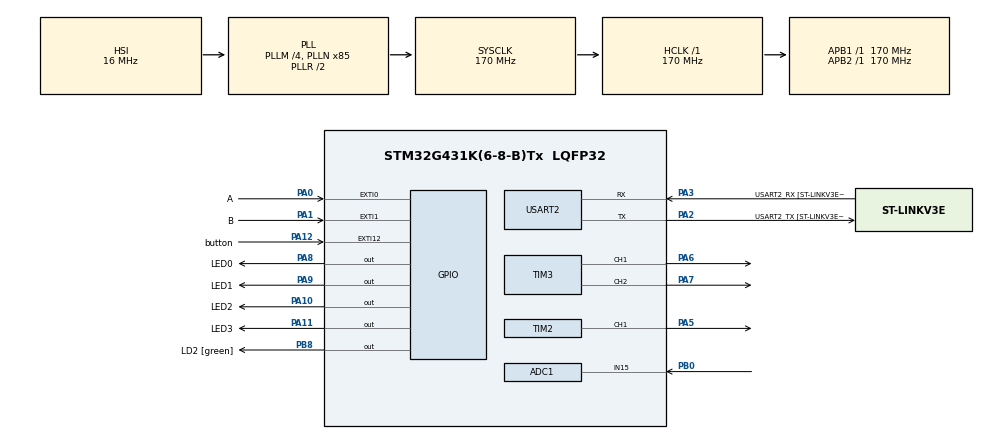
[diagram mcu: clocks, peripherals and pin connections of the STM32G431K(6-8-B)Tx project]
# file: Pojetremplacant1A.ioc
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ADC1.Channel-0\#ChannelRegularConversion=ADC_CHANNEL_15
ADC1.NbrOfConversionFlag=1
ADC1.OffsetNumber-0\#ChannelRegularConversion=ADC_OFFSET_NONE
ADC1.Rank-0\#ChannelRegularConversion=1
ADC1.SamplingTime-0\#ChannelRegularConversion=ADC_SAMPLETIME_2CYCLES_5
ADC1.master=1
Mcu.Family=STM32G4
Mcu.Name=STM32G431K(6-8-B)Tx
Mcu.Package=LQFP32
NVIC.EXTI0_IRQn=true\:0\:0\:false\:false\:true\:true\:true\:true
NVIC.EXTI15_10_IRQn=true\:0\:0\:false\:false\:true\:true\:true\:true
NVIC.EXTI1_IRQn=true\:0\:0\:false\:false\:true\:true\:true\:true
NVIC.PriorityGroup=NVIC_PRIORITYGROUP_4
NVIC.TIM2_IRQn=true\:0\:0\:false\:false\:true\:true\:true\:true
NVIC.TIM3_IRQn=true\:0\:0\:false\:false\:true\:true\:true\:true
NVIC.USART2_IRQn=true\:0\:0\:false\:false\:true\:true\:true\:true
PA0.GPIO_Label=A
PA0.GPIO_PuPd=GPIO_PULLUP
PA0.Signal=GPXTI0
PA1.GPIO_Label=B
PA1.GPIO_PuPd=GPIO_PULLUP
PA1.Signal=GPXTI1
PA10.GPIO_Label=LED2
PA10.Signal=GPIO_Output
PA11.GPIO_Label=LED3
PA11.Signal=GPIO_Output
PA12.GPIO_Label=button
PA12.GPIO_PuPd=GPIO_PULLDOWN
PA12.Signal=GPXTI12
PA13.GPIO_Label=T_SWDIO
PA13.Mode=Serial_Wire
PA13.Signal=SYS_JTMS-SWDIO
PA14.GPIO_Label=T_SWCLK
PA14.Mode=Serial_Wire
PA14.Signal=SYS_JTCK-SWCLK
PA2.GPIO_Label=USART2_TX [ST-LINKV3E_VCP_RX]
PA2.Mode=Asynchronous
PA2.Signal=USART2_TX
PA3.GPIO_Label=USART2_RX [ST-LINKV3E_VCP_TX]
PA3.Mode=Asynchronous
PA3.Signal=USART2_RX
PA5.GPIO_Speed=GPIO_SPEED_FREQ_MEDIUM
PA5.Signal=S_TIM2_CH1
PA6.GPIO_Speed=GPIO_SPEED_FREQ_MEDIUM
PA6.Signal=S_TIM3_CH1
PA7.GPIO_Speed=GPIO_SPEED_FREQ_MEDIUM
PA7.Signal=S_TIM3_CH2
PA8.GPIO_Label=LED0
PA8.Signal=GPIO_Output
PA9.GPIO_Label=LED1
PA9.Signal=GPIO_Output
PB0.Mode=IN15-Single-Ended
PB0.Signal=ADC1_IN15
PB3.GPIO_Label=T_SWO
PB3.Signal=SYS_JTDO-SWO
PB8-BOOT0.GPIO_Label=LD2 [green]
PB8-BOOT0.Signal=GPIO_Output
PF0-OSC_IN.Mode=HSE-External-Oscillator
PF0-OSC_IN.Signal=RCC_OSC_IN
PF1-OSC_OUT.Mode=HSE-External-Oscillator
PF1-OSC_OUT.Signal=RCC_OSC_OUT
ProjectManager.HeapSize=0x200
ProjectManager.StackSize=0x400
ProjectManager.TargetToolchain=STM32CubeIDE
RCC.ADC12Freq_Value=170000000
RCC.AHBFreq_Value=170000000
RCC.APB1Freq_Value=170000000
RCC.APB1TimFreq_Value=170000000
RCC.APB2Freq_Value=170000000
RCC.APB2TimFreq_Value=170000000
RCC.CortexFreq_Value=170000000
RCC.EXTERNAL_CLOCK_VALUE=12288000
RCC.HCLKFreq_Value=170000000
RCC.HSE_VALUE=8000000
RCC.HSI48_VALUE=48000000
RCC.HSI_VALUE=16000000
RCC.LSE_VALUE=32768
RCC.PLLM=RCC_PLLM_DIV4
RCC.PLLN=85
RCC.SYSCLKFreq_VALUE=170000000
RCC.SYSCLKSource=RCC_SYSCLKSOURCE_PLLCLK
RCC.USBFreq_Value=170000000
RCC.VCOOutputFreq_Value=340000000
SH.S_TIM2_CH1.0=TIM2_CH1,PWM Generation1 CH1
SH.S_TIM3_CH1.0=TIM3_CH1,PWM Generation1 CH1
SH.S_TIM3_CH2.0=TIM3_CH2,PWM Generation2 CH2
TIM2.Channel-PWM\ Generation1\ CH1=TIM_CHANNEL_1
TIM2.PeriodNoDither=65535
TIM3.Channel-PWM\ Generation1\ CH1=TIM_CHANNEL_1
TIM3.Channel-PWM\ Generation2\ CH2=TIM_CHANNEL_2
USART2.VirtualMode-Asynchronous=VM_ASYNC
USART2.WordLength=WORDLENGTH_8B
VP_SYS_VS_DBSignals.Mode=DisableDeadBatterySignals
VP_TIM2_VS_ClockSourceINT.Mode=Internal
VP_TIM3_VS_ClockSourceINT.Mode=Internal
board=NUCLEO-G431KB

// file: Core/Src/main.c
/* USER CODE BEGIN Header */
/**
  ******************************************************************************
  * @file           : main.c
  * @brief          : Main program body
  ******************************************************************************
  * @attention
  *
  * Copyright (c) 2024 STMicroelectronics.
  * All rights reserved.
  *
  * This software is licensed under terms that can be found in the LICENSE file
  * in the root directory of this software component.
  * If no LICENSE file comes with this software, it is provided AS-IS.
  *
  ******************************************************************************
  */
/* USER CODE END Header */
#include "main.h"

ADC_HandleTypeDef hadc1;

TIM_HandleTypeDef htim2;
TIM_HandleTypeDef htim3;

UART_HandleTypeDef huart2;

/* USER CODE BEGIN PV */
int Encoder;
int button=1;
int maxValue = 65535;
int volume(int);
int Read_Potentiometer(void);
/* USER CODE END PV */

void SystemClock_Config(void);
static void MX_GPIO_Init(void);
static void MX_USART2_UART_Init(void);
static void MX_TIM3_Init(void);
static void MX_ADC1_Init(void);
static void MX_TIM2_Init(void);

/* USER CODE BEGIN 0 */
#ifdef __GNUC__
#define PUTCHAR_PROTOTYPE int __io_putchar(int ch)
#define GETCHAR_PROTOTYPE int __io_getchar(void)
#else
#define PUTCHAR_PROTOTYPE int fputc(int ch, FILE *f)
#define GETCHAR_PROTOTYPE int fgetc(FILE *f)
#endif

PUTCHAR_PROTOTYPE
{
	HAL_UART_Transmit(&huart2, (uint8_t *)&ch, 1, HAL_MAX_DELAY);
	return ch;
}

int volume(int potar){
	int nombrevaleurs=(int)(4096/128);
	for(int multiple=0; multiple<128; multiple++){
		if(potar>nombrevaleurs*multiple-1 && potar < nombrevaleurs * multiple + nombrevaleurs){
			return multiple;
		}
	}
	return 64;
}

int Read_Potentiometer(void)
{
    HAL_ADC_Start(&hadc1);
    if (HAL_ADC_PollForConversion(&hadc1, HAL_MAX_DELAY) == HAL_OK)
    {
        return HAL_ADC_GetValue(&hadc1);
    }
    return 0;
}

void HAL_GPIO_EXTI_Callback(uint16_t GPIO_Pin)
{
    int A = HAL_GPIO_ReadPin(A_GPIO_Port, A_Pin);
    int B = HAL_GPIO_ReadPin(B_GPIO_Port, B_Pin);
    if (GPIO_Pin == button_Pin)
    {
    	button=1-button;
    }

    if (GPIO_Pin == A_Pin)
    {
        if (A == 1)
        {
            if (B == 0)
            {
                Encoder += 1000;
            }
        }
        if (Encoder > maxValue)
                Encoder = maxValue;
            else if (Encoder < 0)
                Encoder = 0;
    }
    else if (GPIO_Pin == B_Pin)
    {
        if (B == 1)
        {
            if (A == 0)
            {
                Encoder += -1000;
            }
        }
        if (Encoder > maxValue)
                Encoder = maxValue;
            else if (Encoder < 0)
                Encoder = 0;
    }

	  __HAL_TIM_SET_COMPARE(&htim2, TIM_CHANNEL_1,65535-Encoder );
	  __HAL_TIM_SET_COMPARE(&htim3, TIM_CHANNEL_1,Encoder );
}
/* USER CODE END 0 */

int main(void)
{

  /* MCU Configuration--------------------------------------------------------*/

  /* Reset of all peripherals, Initializes the Flash interface and the Systick. */
  HAL_Init();

  /* Configure the system clock */
  SystemClock_Config();

  /* Initialize all configured peripherals */
  MX_GPIO_Init();
  MX_USART2_UART_Init();
  MX_TIM3_Init();
  MX_ADC1_Init();
  MX_TIM2_Init();
  /* USER CODE BEGIN 2 */
  HAL_TIM_PWM_Start(&htim3, TIM_CHANNEL_1);
  HAL_TIM_PWM_Start(&htim2, TIM_CHANNEL_1);
  HAL_TIM_PWM_Start(&htim3, TIM_CHANNEL_2);
  /* USER CODE END 2 */

  /* Infinite loop */
  /* USER CODE BEGIN WHILE */
  while (1)
  {
	  int potar_value = Read_Potentiometer();
	  int delay = volume(potar_value);
	  __HAL_TIM_SET_COMPARE(&htim3, TIM_CHANNEL_2,button*maxValue );
	  if(button==1){
		  HAL_GPIO_WritePin(LED0_GPIO_Port,LED0_Pin,0);
		  HAL_Delay(delay);
		  HAL_GPIO_WritePin(LED0_GPIO_Port,LED0_Pin,1);
		  HAL_GPIO_WritePin(LED1_GPIO_Port,LED1_Pin,0);
		  HAL_Delay(delay);
		  HAL_GPIO_WritePin(LED1_GPIO_Port,LED1_Pin,1);
		  HAL_GPIO_WritePin(LED2_GPIO_Port,LED2_Pin,0);
		  HAL_Delay(delay);
		  HAL_GPIO_WritePin(LED2_GPIO_Port,LED2_Pin,1);
		  HAL_GPIO_WritePin(LED3_GPIO_Port,LED3_Pin,0);
		  HAL_Delay(delay);
		  HAL_GPIO_WritePin(LED3_GPIO_Port,LED3_Pin,1);
	  }
	  if(button==0){
		  HAL_GPIO_WritePin(LED3_GPIO_Port,LED3_Pin,0);
		  HAL_Delay(delay);
		  HAL_GPIO_WritePin(LED3_GPIO_Port,LED3_Pin,1);
		  HAL_GPIO_WritePin(LED2_GPIO_Port,LED2_Pin,0);
		  HAL_Delay(delay);
		  HAL_GPIO_WritePin(LED2_GPIO_Port,LED2_Pin,1);
		  HAL_GPIO_WritePin(LED1_GPIO_Port,LED1_Pin,0);
		  HAL_Delay(delay);
		  HAL_GPIO_WritePin(LED1_GPIO_Port,LED1_Pin,1);
		  HAL_GPIO_WritePin(LED0_GPIO_Port,LED0_Pin,0);
		  HAL_Delay(delay);
		  HAL_GPIO_WritePin(LED0_GPIO_Port,LED0_Pin,1);
	  }
    /* USER CODE END WHILE */

  }
}

void SystemClock_Config(void)
{
  RCC_OscInitTypeDef RCC_OscInitStruct = {0};
  RCC_ClkInitTypeDef RCC_ClkInitStruct = {0};

  /** Configure the main internal regulator output voltage
  */
  HAL_PWREx_ControlVoltageScaling(PWR_REGULATOR_VOLTAGE_SCALE1_BOOST);

  /** Initializes the RCC Oscillators according to the specified parameters
  * in the RCC_OscInitTypeDef structure.
  */
  RCC_OscInitStruct.OscillatorType = RCC_OSCILLATORTYPE_HSI;
  RCC_OscInitStruct.HSIState = RCC_HSI_ON;
  RCC_OscInitStruct.HSICalibrationValue = RCC_HSICALIBRATION_DEFAULT;
  RCC_OscInitStruct.PLL.PLLState = RCC_PLL_ON;
  RCC_OscInitStruct.PLL.PLLSource = RCC_PLLSOURCE_HSI;
  RCC_OscInitStruct.PLL.PLLM = RCC_PLLM_DIV4;
  RCC_OscInitStruct.PLL.PLLN = 85;
  RCC_OscInitStruct.PLL.PLLP = RCC_PLLP_DIV2;
  RCC_OscInitStruct.PLL.PLLQ = RCC_PLLQ_DIV2;
  RCC_OscInitStruct.PLL.PLLR = RCC_PLLR_DIV2;
  if (HAL_RCC_OscConfig(&RCC_OscInitStruct) != HAL_OK)
  {
    Error_Handler();
  }

  /** Initializes the CPU, AHB and APB buses clocks
  */
  RCC_ClkInitStruct.ClockType = RCC_CLOCKTYPE_HCLK|RCC_CLOCKTYPE_SYSCLK
                              |RCC_CLOCKTYPE_PCLK1|RCC_CLOCKTYPE_PCLK2;
  RCC_ClkInitStruct.SYSCLKSource = RCC_SYSCLKSOURCE_PLLCLK;
  RCC_ClkInitStruct.AHBCLKDivider = RCC_SYSCLK_DIV1;
  RCC_ClkInitStruct.APB1CLKDivider = RCC_HCLK_DIV1;
  RCC_ClkInitStruct.APB2CLKDivider = RCC_HCLK_DIV1;

  if (HAL_RCC_ClockConfig(&RCC_ClkInitStruct, FLASH_LATENCY_4) != HAL_OK)
  {
    Error_Handler();
  }
}

static void MX_ADC1_Init(void)
{

  ADC_MultiModeTypeDef multimode = {0};
  ADC_ChannelConfTypeDef sConfig = {0};

  /** Common config
  */
  hadc1.Instance = ADC1;
  hadc1.Init.ClockPrescaler = ADC_CLOCK_SYNC_PCLK_DIV4;
  hadc1.Init.Resolution = ADC_RESOLUTION_12B;
  hadc1.Init.DataAlign = ADC_DATAALIGN_RIGHT;
  hadc1.Init.GainCompensation = 0;
  hadc1.Init.ScanConvMode = ADC_SCAN_DISABLE;
  hadc1.Init.EOCSelection = ADC_EOC_SINGLE_CONV;
  hadc1.Init.LowPowerAutoWait = DISABLE;
  hadc1.Init.ContinuousConvMode = DISABLE;
  hadc1.Init.NbrOfConversion = 1;
  hadc1.Init.DiscontinuousConvMode = DISABLE;
  hadc1.Init.ExternalTrigConv = ADC_SOFTWARE_START;
  hadc1.Init.ExternalTrigConvEdge = ADC_EXTERNALTRIGCONVEDGE_NONE;
  hadc1.Init.DMAContinuousRequests = DISABLE;
  hadc1.Init.Overrun = ADC_OVR_DATA_PRESERVED;
  hadc1.Init.OversamplingMode = DISABLE;
  if (HAL_ADC_Init(&hadc1) != HAL_OK)
  {
    Error_Handler();
  }

  /** Configure the ADC multi-mode
  */
  multimode.Mode = ADC_MODE_INDEPENDENT;
  if (HAL_ADCEx_MultiModeConfigChannel(&hadc1, &multimode) != HAL_OK)
  {
    Error_Handler();
  }

  /** Configure Regular Channel
  */
  sConfig.Channel = ADC_CHANNEL_15;
  sConfig.Rank = ADC_REGULAR_RANK_1;
  sConfig.SamplingTime = ADC_SAMPLETIME_2CYCLES_5;
  sConfig.SingleDiff = ADC_SINGLE_ENDED;
  sConfig.OffsetNumber = ADC_OFFSET_NONE;
  sConfig.Offset = 0;
  if (HAL_ADC_ConfigChannel(&hadc1, &sConfig) != HAL_OK)
  {
    Error_Handler();
  }

}

static void MX_TIM2_Init(void)
{

  TIM_ClockConfigTypeDef sClockSourceConfig = {0};
  TIM_MasterConfigTypeDef sMasterConfig = {0};
  TIM_OC_InitTypeDef sConfigOC = {0};

  htim2.Instance = TIM2;
  htim2.Init.Prescaler = 0;
  htim2.Init.CounterMode = TIM_COUNTERMODE_UP;
  htim2.Init.Period = 65535;
  htim2.Init.ClockDivision = TIM_CLOCKDIVISION_DIV1;
  htim2.Init.AutoReloadPreload = TIM_AUTORELOAD_PRELOAD_DISABLE;
  if (HAL_TIM_Base_Init(&htim2) != HAL_OK)
  {
    Error_Handler();
  }
  sClockSourceConfig.ClockSource = TIM_CLOCKSOURCE_INTERNAL;
  if (HAL_TIM_ConfigClockSource(&htim2, &sClockSourceConfig) != HAL_OK)
  {
    Error_Handler();
  }
  if (HAL_TIM_PWM_Init(&htim2) != HAL_OK)
  {
    Error_Handler();
  }
  sMasterConfig.MasterOutputTrigger = TIM_TRGO_RESET;
  sMasterConfig.MasterSlaveMode = TIM_MASTERSLAVEMODE_DISABLE;
  if (HAL_TIMEx_MasterConfigSynchronization(&htim2, &sMasterConfig) != HAL_OK)
  {
    Error_Handler();
  }
  sConfigOC.OCMode = TIM_OCMODE_PWM1;
  sConfigOC.Pulse = 0;
  sConfigOC.OCPolarity = TIM_OCPOLARITY_HIGH;
  sConfigOC.OCFastMode = TIM_OCFAST_DISABLE;
  if (HAL_TIM_PWM_ConfigChannel(&htim2, &sConfigOC, TIM_CHANNEL_1) != HAL_OK)
  {
    Error_Handler();
  }
  HAL_TIM_MspPostInit(&htim2);

}

static void MX_TIM3_Init(void)
{

  TIM_ClockConfigTypeDef sClockSourceConfig = {0};
  TIM_MasterConfigTypeDef sMasterConfig = {0};
  TIM_OC_InitTypeDef sConfigOC = {0};

  htim3.Instance = TIM3;
  htim3.Init.Prescaler = 0;
  htim3.Init.CounterMode = TIM_COUNTERMODE_UP;
  htim3.Init.Period = 65535;
  htim3.Init.ClockDivision = TIM_CLOCKDIVISION_DIV1;
  htim3.Init.AutoReloadPreload = TIM_AUTORELOAD_PRELOAD_DISABLE;
  if (HAL_TIM_Base_Init(&htim3) != HAL_OK)
  {
    Error_Handler();
  }
  sClockSourceConfig.ClockSource = TIM_CLOCKSOURCE_INTERNAL;
  if (HAL_TIM_ConfigClockSource(&htim3, &sClockSourceConfig) != HAL_OK)
  {
    Error_Handler();
  }
  if (HAL_TIM_PWM_Init(&htim3) != HAL_OK)
  {
    Error_Handler();
  }
  sMasterConfig.MasterOutputTrigger = TIM_TRGO_RESET;
  sMasterConfig.MasterSlaveMode = TIM_MASTERSLAVEMODE_DISABLE;
  if (HAL_TIMEx_MasterConfigSynchronization(&htim3, &sMasterConfig) != HAL_OK)
  {
    Error_Handler();
  }
  sConfigOC.OCMode = TIM_OCMODE_PWM1;
  sConfigOC.Pulse = 0;
  sConfigOC.OCPolarity = TIM_OCPOLARITY_HIGH;
  sConfigOC.OCFastMode = TIM_OCFAST_DISABLE;
  if (HAL_TIM_PWM_ConfigChannel(&htim3, &sConfigOC, TIM_CHANNEL_1) != HAL_OK)
  {
    Error_Handler();
  }
  if (HAL_TIM_PWM_ConfigChannel(&htim3, &sConfigOC, TIM_CHANNEL_2) != HAL_OK)
  {
    Error_Handler();
  }
  HAL_TIM_MspPostInit(&htim3);

}

static void MX_USART2_UART_Init(void)
{

  huart2.Instance = USART2;
  huart2.Init.BaudRate = 115200;
  huart2.Init.WordLength = UART_WORDLENGTH_8B;
  huart2.Init.StopBits = UART_STOPBITS_1;
  huart2.Init.Parity = UART_PARITY_NONE;
  huart2.Init.Mode = UART_MODE_TX_RX;
  huart2.Init.HwFlowCtl = UART_HWCONTROL_NONE;
  huart2.Init.OverSampling = UART_OVERSAMPLING_16;
  huart2.Init.OneBitSampling = UART_ONE_BIT_SAMPLE_DISABLE;
  huart2.Init.ClockPrescaler = UART_PRESCALER_DIV1;
  huart2.AdvancedInit.AdvFeatureInit = UART_ADVFEATURE_NO_INIT;
  if (HAL_UART_Init(&huart2) != HAL_OK)
  {
    Error_Handler();
  }
  if (HAL_UARTEx_SetTxFifoThreshold(&huart2, UART_TXFIFO_THRESHOLD_1_8) != HAL_OK)
  {
    Error_Handler();
  }
  if (HAL_UARTEx_SetRxFifoThreshold(&huart2, UART_RXFIFO_THRESHOLD_1_8) != HAL_OK)
  {
    Error_Handler();
  }
  if (HAL_UARTEx_DisableFifoMode(&huart2) != HAL_OK)
  {
    Error_Handler();
  }

}

static void MX_GPIO_Init(void)
{
  GPIO_InitTypeDef GPIO_InitStruct = {0};

  /* GPIO Ports Clock Enable */
  __HAL_RCC_GPIOF_CLK_ENABLE();
  __HAL_RCC_GPIOA_CLK_ENABLE();
  __HAL_RCC_GPIOB_CLK_ENABLE();

  /*Configure GPIO pin Output Level */
  HAL_GPIO_WritePin(GPIOA, LED0_Pin|LED1_Pin|LED2_Pin|LED3_Pin, GPIO_PIN_RESET);

  /*Configure GPIO pin Output Level */
  HAL_GPIO_WritePin(LD2_GPIO_Port, LD2_Pin, GPIO_PIN_RESET);

  /*Configure GPIO pins : A_Pin B_Pin */
  GPIO_InitStruct.Pin = A_Pin|B_Pin;
  GPIO_InitStruct.Mode = GPIO_MODE_IT_RISING;
  GPIO_InitStruct.Pull = GPIO_PULLUP;
  HAL_GPIO_Init(GPIOA, &GPIO_InitStruct);

  /*Configure GPIO pins : LED0_Pin LED1_Pin LED2_Pin LED3_Pin */
  GPIO_InitStruct.Pin = LED0_Pin|LED1_Pin|LED2_Pin|LED3_Pin;
  GPIO_InitStruct.Mode = GPIO_MODE_OUTPUT_PP;
  GPIO_InitStruct.Pull = GPIO_NOPULL;
  GPIO_InitStruct.Speed = GPIO_SPEED_FREQ_LOW;
  HAL_GPIO_Init(GPIOA, &GPIO_InitStruct);

  /*Configure GPIO pin : button_Pin */
  GPIO_InitStruct.Pin = button_Pin;
  GPIO_InitStruct.Mode = GPIO_MODE_IT_RISING;
  GPIO_InitStruct.Pull = GPIO_PULLDOWN;
  HAL_GPIO_Init(button_GPIO_Port, &GPIO_InitStruct);

  /*Configure GPIO pin : LD2_Pin */
  GPIO_InitStruct.Pin = LD2_Pin;
  GPIO_InitStruct.Mode = GPIO_MODE_OUTPUT_PP;
  GPIO_InitStruct.Pull = GPIO_NOPULL;
  GPIO_InitStruct.Speed = GPIO_SPEED_FREQ_LOW;
  HAL_GPIO_Init(LD2_GPIO_Port, &GPIO_InitStruct);

  /* EXTI interrupt init*/
  HAL_NVIC_SetPriority(EXTI0_IRQn, 0, 0);
  HAL_NVIC_EnableIRQ(EXTI0_IRQn);

  HAL_NVIC_SetPriority(EXTI1_IRQn, 0, 0);
  HAL_NVIC_EnableIRQ(EXTI1_IRQn);

  HAL_NVIC_SetPriority(EXTI15_10_IRQn, 0, 0);
  HAL_NVIC_EnableIRQ(EXTI15_10_IRQn);

}

void Error_Handler(void)
{
  __disable_irq();
  while (1)
  {
  }
}
